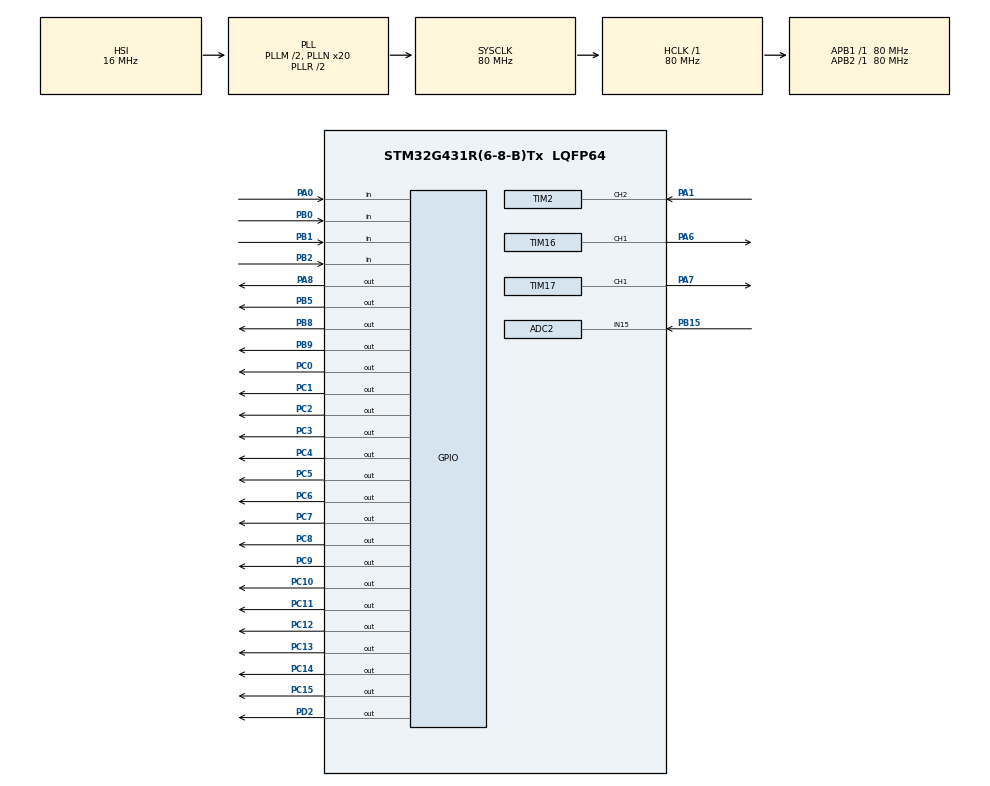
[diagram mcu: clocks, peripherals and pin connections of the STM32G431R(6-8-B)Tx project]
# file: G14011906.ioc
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ADC2.Channel-0\#ChannelRegularConversion=ADC_CHANNEL_15
ADC2.NbrOfConversionFlag=1
ADC2.OffsetNumber-0\#ChannelRegularConversion=ADC_OFFSET_NONE
ADC2.Rank-0\#ChannelRegularConversion=1
ADC2.SamplingTime-0\#ChannelRegularConversion=ADC_SAMPLETIME_2CYCLES_5
Mcu.Family=STM32G4
Mcu.Name=STM32G431R(6-8-B)Tx
Mcu.Package=LQFP64
NVIC.ADC1_2_IRQn=true\:0\:0\:false\:false\:true\:true\:true
NVIC.PriorityGroup=NVIC_PRIORITYGROUP_4
NVIC.TIM2_IRQn=true\:0\:0\:false\:false\:true\:true\:true
NVIC.TIM4_IRQn=true\:0\:0\:false\:false\:true\:true\:true
PA0.Signal=GPIO_Input
PA1.Signal=S_TIM2_CH2
PA6.Signal=S_TIM16_CH1
PA7.Signal=S_TIM17_CH1
PA8.Signal=GPIO_Output
PB0.Signal=GPIO_Input
PB1.Signal=GPIO_Input
PB15.Mode=IN15-Single-Ended
PB15.Signal=ADC2_IN15
PB2.Signal=GPIO_Input
PB5.Signal=GPIO_Output
PB8-BOOT0.Signal=GPIO_Output
PB9.Signal=GPIO_Output
PC0.Signal=GPIO_Output
PC1.Signal=GPIO_Output
PC10.Signal=GPIO_Output
PC11.Signal=GPIO_Output
PC12.Signal=GPIO_Output
PC13.Signal=GPIO_Output
PC14-OSC32_IN.Signal=GPIO_Output
PC15-OSC32_OUT.Signal=GPIO_Output
PC2.Signal=GPIO_Output
PC3.Signal=GPIO_Output
PC4.Signal=GPIO_Output
PC5.Signal=GPIO_Output
PC6.Signal=GPIO_Output
PC7.Signal=GPIO_Output
PC8.Signal=GPIO_Output
PC9.Signal=GPIO_Output
PD2.Signal=GPIO_Output
PF0-OSC_IN.Mode=HSE-External-Oscillator
PF0-OSC_IN.Signal=RCC_OSC_IN
PF1-OSC_OUT.Mode=HSE-External-Oscillator
PF1-OSC_OUT.Signal=RCC_OSC_OUT
ProjectManager.HeapSize=0x200
ProjectManager.StackSize=0x400
ProjectManager.TargetToolchain=MDK-ARM V5.27
RCC.ADC12Freq_Value=80000000
RCC.AHBFreq_Value=80000000
RCC.APB1Freq_Value=80000000
RCC.APB1TimFreq_Value=80000000
RCC.APB2Freq_Value=80000000
RCC.APB2TimFreq_Value=80000000
RCC.CortexFreq_Value=80000000
RCC.EXTERNAL_CLOCK_VALUE=12288000
RCC.HCLKFreq_Value=80000000
RCC.HSE_VALUE=24000000
RCC.HSI48_VALUE=48000000
RCC.HSI_VALUE=16000000
RCC.LSE_VALUE=32768
RCC.PLLM=RCC_PLLM_DIV2
RCC.PLLN=20
RCC.SYSCLKFreq_VALUE=80000000
RCC.SYSCLKSource=RCC_SYSCLKSOURCE_PLLCLK
RCC.USBFreq_Value=80000000
RCC.VCOOutputFreq_Value=160000000
SH.S_TIM16_CH1.0=TIM16_CH1,PWM Generation1 CH1
SH.S_TIM17_CH1.0=TIM17_CH1,PWM Generation1 CH1
SH.S_TIM2_CH2.0=TIM2_CH2,Input_Capture2_from_TI2
TIM16.Channel=TIM_CHANNEL_1
TIM16.PeriodNoDither=9999
TIM16.Prescaler=79
TIM16.PulseNoDither_1=1000
TIM17.Channel=TIM_CHANNEL_1
TIM17.PeriodNoDither=4999
TIM17.Prescaler=79
TIM17.PulseNoDither_1=500
TIM2.Channel-Input_Capture2_from_TI2=TIM_CHANNEL_2
TIM2.PeriodNoDither=0xFFFFFFFF
TIM2.Prescaler=79
TIM4.PeriodNoDither=9999
TIM4.Prescaler=79
VP_SYS_VS_DBSignals.Mode=DisableDeadBatterySignals
VP_TIM16_VS_ClockSourceINT.Mode=Enable_Timer
VP_TIM17_VS_ClockSourceINT.Mode=Enable_Timer
VP_TIM4_VS_ClockSourceINT.Mode=Internal
board=custom

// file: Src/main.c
/* USER CODE BEGIN Header */
/**
  ******************************************************************************
  * @file           : main.c
  * @brief          : Main program body
  ******************************************************************************
  * @attention
  *
  * <h2><center>&copy; Copyright (c) 2021 STMicroelectronics.
  * All rights reserved.</center></h2>
  *
  * This software component is licensed by ST under BSD 3-Clause license,
  * the "License"; You may not use this file except in compliance with the
  * License. You may obtain a copy of the License at:
  *                        opensource.org/licenses/BSD-3-Clause
  *
  ******************************************************************************
  */
/* USER CODE END Header */

#include "main.h"
#include "adc.h"
#include "tim.h"
#include "gpio.h"

/* USER CODE BEGIN Includes */
#include "lcd.h"
#include "key.h"
#include "led.h"
#include "stdio.h"
#include "string.h"
/* USER CODE END Includes */

void SystemClock_Config(void);

/* USER CODE BEGIN 0 */
#define LCD_DATA    0
#define LCD_PARA    1
#define PWM_AUTO    0
#define PWM_MANU    1
_Bool   lcd_mode =  LCD_DATA;
_Bool   pwm_mode =  PWM_AUTO;
u8      pa6_duty = 10,pa7_duty = 10;
float   volt_r37;
float duty;
extern struct keys key[4];
u32 adc2_val = 0;
void ADC_Proc(void)
{
    HAL_ADC_Start(&hadc2);
    adc2_val = HAL_ADC_GetValue(&hadc2);
    volt_r37 = adc2_val/4096.0f * 3.3f;
}

void LCD_Proc(void)
{
    char lcd_buf[20];
    if(lcd_mode == LCD_DATA)
    {
        LCD_DisplayStringLine(Line0,(unsigned char *)"      Data          ");
        sprintf(lcd_buf,"    V:%4.2fV      ",volt_r37);
        LCD_DisplayStringLine(Line2,(unsigned char *)lcd_buf);
        if(pwm_mode == PWM_AUTO)
            LCD_DisplayStringLine(Line4,(unsigned char *)"    Mode:AUTO          ");
        else
            LCD_DisplayStringLine(Line4,(unsigned char *)"    Mode:MANU          ");
    }
    else
    {
        LCD_DisplayStringLine(Line0,(unsigned char *)"      Para          ");
        sprintf(lcd_buf,"    PA6:%d%%      ",pa6_duty);
        LCD_DisplayStringLine(Line2,(unsigned char *)lcd_buf);
        sprintf(lcd_buf,"    PA7:%d%%      ",pa7_duty);
        LCD_DisplayStringLine(Line4,(unsigned char *)lcd_buf);
    }
}

void KEY_Proc(void)
{
    if(key[0].key_ok == 1)
    {
        LCD_Clear(Black);
        lcd_mode = !lcd_mode;
        key[0].key_ok = 0;
    }
    if(key[1].key_ok == 1)
    {
        if(lcd_mode == LCD_PARA)
        {
            pa6_duty += 10;
            if(pa6_duty > 90)
                pa6_duty = 10;
        }
        key[1].key_ok = 0;
    }
    if(key[2].key_ok == 1)
    {
        if(lcd_mode == LCD_PARA)
        {
            pa7_duty += 10;
            if(pa7_duty > 90)
                pa7_duty = 10;
        }
        key[2].key_ok = 0;
    }
    if(key[3].key_ok == 1)
    {
        pwm_mode = !pwm_mode;
        key[3].key_ok = 0;
    }
}

u16 duty6,duty7;
u32 fre6,fre7;
void PWM_Proc(void)
{
    if(pwm_mode == PWM_AUTO)
    {
        TIM16->CCR1 = (volt_r37 / 3.3f) * 10000;
        TIM17->CCR1 = (volt_r37 / 3.3f) * 5000;
    }
    else
    {
        TIM16->CCR1 = pa6_duty * 100;
        TIM17->CCR1 = pa7_duty * 50;
    }
}

u8 led_ctrl = 0;
void LED_Proc(void)
{
    if(pwm_mode == PWM_AUTO)
        led_ctrl |= 0x01;
    else
        led_ctrl &= ~0x01;
    if(lcd_mode == LCD_DATA)
        led_ctrl |= 0x02;
    else
        led_ctrl &= ~0x02;
    LED_Ctrl(led_ctrl);
}
/* USER CODE END 0 */

int main(void)
{

  /* MCU Configuration--------------------------------------------------------*/

  /* Reset of all peripherals, Initializes the Flash interface and the Systick. */
  HAL_Init();

  /* Configure the system clock */
  SystemClock_Config();

  /* Initialize all configured peripherals */
  MX_GPIO_Init();
  MX_ADC2_Init();
  MX_TIM4_Init();
  MX_TIM16_Init();
  MX_TIM17_Init();
  MX_TIM2_Init();
  /* USER CODE BEGIN 2 */

	LCD_Init();
  /* USER CODE END 2 */

  /* Infinite loop */
  /* USER CODE BEGIN WHILE */

	LCD_Clear(Black);
	LCD_SetBackColor(Black);
	LCD_SetTextColor(White);

    HAL_TIM_Base_Start_IT(&htim4);
    HAL_TIM_PWM_Start(&htim16,TIM_CHANNEL_1);
    HAL_TIM_PWM_Start(&htim17,TIM_CHANNEL_1);

  while (1)
  {
    /* USER CODE END WHILE */

    /* USER CODE BEGIN 3 */
      ADC_Proc();
      LCD_Proc();
      KEY_Proc();
      PWM_Proc();
      LED_Proc();
  }
  /* USER CODE END 3 */
}

void SystemClock_Config(void)
{
  RCC_OscInitTypeDef RCC_OscInitStruct = {0};
  RCC_ClkInitTypeDef RCC_ClkInitStruct = {0};
  RCC_PeriphCLKInitTypeDef PeriphClkInit = {0};

  /** Configure the main internal regulator output voltage
  */
  HAL_PWREx_ControlVoltageScaling(PWR_REGULATOR_VOLTAGE_SCALE1);
  /** Initializes the CPU, AHB and APB busses clocks
  */
  RCC_OscInitStruct.OscillatorType = RCC_OSCILLATORTYPE_HSI;
  RCC_OscInitStruct.HSIState = RCC_HSI_ON;
  RCC_OscInitStruct.HSICalibrationValue = RCC_HSICALIBRATION_DEFAULT;
  RCC_OscInitStruct.PLL.PLLState = RCC_PLL_ON;
  RCC_OscInitStruct.PLL.PLLSource = RCC_PLLSOURCE_HSI;
  RCC_OscInitStruct.PLL.PLLM = RCC_PLLM_DIV2;
  RCC_OscInitStruct.PLL.PLLN = 20;
  RCC_OscInitStruct.PLL.PLLP = RCC_PLLP_DIV2;
  RCC_OscInitStruct.PLL.PLLQ = RCC_PLLQ_DIV2;
  RCC_OscInitStruct.PLL.PLLR = RCC_PLLR_DIV2;
  if (HAL_RCC_OscConfig(&RCC_OscInitStruct) != HAL_OK)
  {
    Error_Handler();
  }
  /** Initializes the CPU, AHB and APB busses clocks
  */
  RCC_ClkInitStruct.ClockType = RCC_CLOCKTYPE_HCLK|RCC_CLOCKTYPE_SYSCLK
                              |RCC_CLOCKTYPE_PCLK1|RCC_CLOCKTYPE_PCLK2;
  RCC_ClkInitStruct.SYSCLKSource = RCC_SYSCLKSOURCE_PLLCLK;
  RCC_ClkInitStruct.AHBCLKDivider = RCC_SYSCLK_DIV1;
  RCC_ClkInitStruct.APB1CLKDivider = RCC_HCLK_DIV1;
  RCC_ClkInitStruct.APB2CLKDivider = RCC_HCLK_DIV1;

  if (HAL_RCC_ClockConfig(&RCC_ClkInitStruct, FLASH_LATENCY_3) != HAL_OK)
  {
    Error_Handler();
  }
  /** Initializes the peripherals clocks
  */
  PeriphClkInit.PeriphClockSelection = RCC_PERIPHCLK_ADC12;
  PeriphClkInit.Adc12ClockSelection = RCC_ADC12CLKSOURCE_SYSCLK;
  if (HAL_RCCEx_PeriphCLKConfig(&PeriphClkInit) != HAL_OK)
  {
    Error_Handler();
  }
}

void Error_Handler(void)
{
}

/************************ (C) COPYRIGHT STMicroelectronics *****END OF FILE****/
